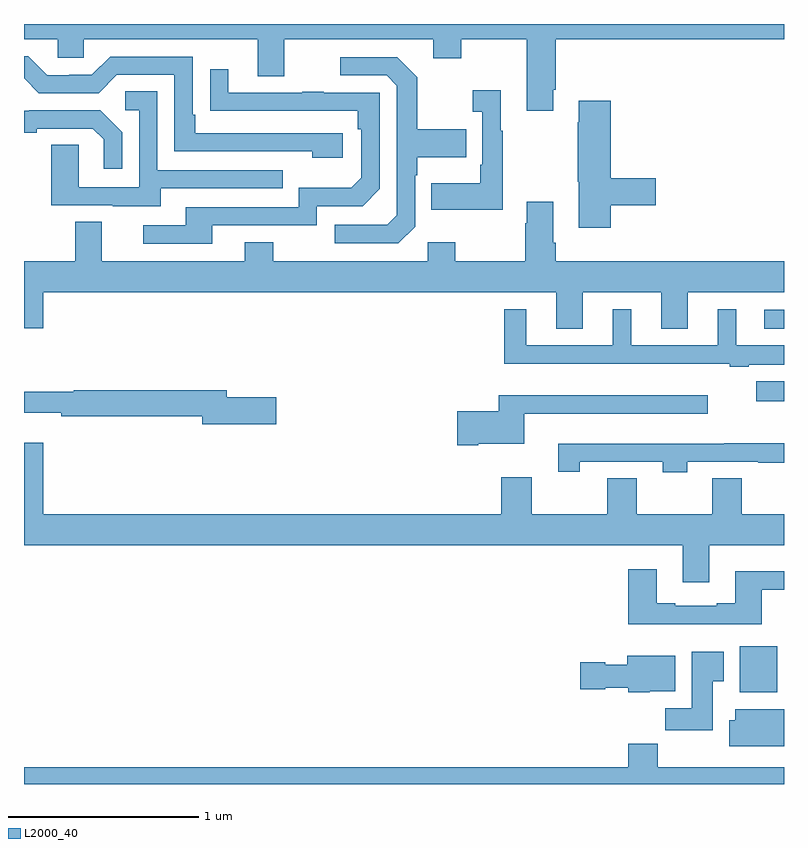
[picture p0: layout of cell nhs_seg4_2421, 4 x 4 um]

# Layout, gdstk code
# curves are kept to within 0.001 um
import gdstk
lib = gdstk.Library(unit=1e-6, precision=1e-09)
def R(c, l, rs):  # rectangles x0, y0, x1, y1
    for r in rs: c.add(gdstk.rectangle(r[:2], r[2:], *l))
def P(c, l, *ps):  # polygons
    for p in ps: c.add(gdstk.Polygon(p, *l))
L2000_40 = (2000, 40)

nhs_seg4_2421 = lib.new_cell('nhs_seg4_2421')
R(nhs_seg4_2421, L2000_40, [(240.767,793.382,240.964,793.624), (240.855,794.915,241,795.019), (240.897,795.296,241,795.397)])
P(nhs_seg4_2421, L2000_40, [(239.785,796.555),(239.798,796.555),(239.798,796.82),(241,796.82),(241,796.9),(237,796.9),(237,796.82),(237.177,796.82),(237.177,796.722),(237.315,796.722),(237.315,796.82),(238.229,796.82),(238.229,796.626),(238.369,796.626),(238.369,796.82),(239.153,796.82),(239.153,796.721),(239.301,796.721),(239.301,796.82),(239.645,796.82),(239.645,796.443),(239.785,796.443)],
  [(238.678,796.326),(237.901,796.326),(237.901,796.423),(237.888,796.423),(237.888,796.728),(237.453,796.728),(237.357,796.632),(237.239,796.632),(237.239,796.629),(237.123,796.629),(237.023,796.729),(237,796.729),(237,796.614),(237.078,796.536),(237.393,796.536),(237.489,796.632),(237.792,796.632),(237.792,796.23),(238.517,796.23),(238.517,796.196),(238.678,796.196)],
  [(239.058,795.834),(239.058,796.103),(239.071,796.103),(239.071,796.199),(239.327,796.199),(239.327,796.347),(239.071,796.347),(239.071,796.619),(238.965,796.725),(238.665,796.725),(238.665,796.629),(238.908,796.629),(238.962,796.575),(238.962,795.894),(238.911,795.843),(238.635,795.843),(238.635,795.747),(238.971,795.747)],
  [(237.991,795.84),(238.542,795.84),(238.542,795.942),(238.782,795.942),(238.872,796.032),(238.872,796.539),(238.577,796.539),(238.577,796.544),(238.465,796.544),(238.465,796.539),(238.075,796.539),(238.075,796.663),(237.979,796.663),(237.979,796.444),(238.756,796.443),(238.756,796.346),(238.776,796.346),(238.776,796.092),(238.723,796.039),(238.446,796.039),(238.446,795.936),(237.851,795.936),(237.851,795.84),(237.627,795.84),(237.627,795.744),(237.991,795.744)],
  [(239.521,796.339),(239.509,796.339),(239.509,796.552),(239.361,796.552),(239.361,796.439),(239.412,796.439),(239.412,796.159),(239.4,796.159),(239.4,796.063),(239.143,796.063),(239.143,795.923),(239.521,795.923)],
  [(237.721,796.035),(238.361,796.035),(238.361,796.131),(237.702,796.131),(237.702,796.547),(237.534,796.547),(237.534,796.446),(237.606,796.446),(237.606,796.041),(237.288,796.041),(237.288,796.265),(237.143,796.265),(237.143,795.945),(237.467,795.945),(237.467,795.941),(237.721,795.941)],
  [(240.089,795.946),(240.325,795.946),(240.325,796.088),(240.089,796.088),(240.089,796.495),(239.921,796.495),(239.921,796.382),(239.914,796.382),(239.914,796.071),(239.921,796.071),(239.921,795.828),(240.089,795.828)],
  [(237.516,796.33),(237.4,796.446),(237.028,796.446),(237.028,796.443),(237,796.443),(237,796.328),(237.067,796.328),(237.067,796.35),(237.362,796.35),(237.419,796.293),(237.419,796.137),(237.516,796.137)],
  [(239.941,795.488),(240.353,795.488),(240.353,795.295),(240.493,795.295),(240.493,795.488),(241,795.488),(241,795.652),(239.798,795.652),(239.798,795.748),(239.785,795.748),(239.785,795.964),(239.645,795.964),(239.645,795.851),(239.638,795.851),(239.638,795.652),(239.271,795.652),(239.271,795.751),(239.124,795.751),(239.124,795.652),(238.311,795.652),(238.311,795.751),(238.163,795.751),(238.163,795.652),(237.409,795.652),(237.409,795.86),(237.269,795.86),(237.269,795.652),(237,795.652),(237,795.3),(237.1,795.3),(237.1,795.488),(239.801,795.488),(239.801,795.295),(239.941,795.295)],
  [(240.814,795.107),(241,795.107),(241,795.208),(240.748,795.208),(240.748,795.4),(240.65,795.4),(240.65,795.21),(240.196,795.21),(240.196,795.4),(240.098,795.4),(240.098,795.21),(239.644,795.21),(239.644,795.4),(239.527,795.4),(239.527,795.113),(240.714,795.113),(240.714,795.095),(240.814,795.095)],
  [(238.327,794.936),(238.066,794.936),(238.066,794.972),(237.262,794.972),(237.262,794.965),(237,794.965),(237,794.855),(237.196,794.855),(237.196,794.836),(237.938,794.836),(237.938,794.794),(238.327,794.794)],
  [(239.392,794.69),(239.632,794.69),(239.632,794.849),(240.598,794.849),(240.598,794.947),(239.498,794.947),(239.498,794.861),(239.28,794.861),(239.28,794.683),(239.392,794.683)],
  [(240.607,794.156),(241,794.156),(241,794.32),(240.777,794.32),(240.777,794.51),(240.622,794.51),(240.622,794.32),(240.225,794.32),(240.225,794.51),(240.07,794.51),(240.07,794.32),(239.673,794.32),(239.673,794.515),(239.513,794.515),(239.513,794.32),(237.1,794.32),(237.1,794.695),(237,794.695),(237,794.156),(240.467,794.156),(240.467,793.962),(240.607,793.962)],
  [(240.491,794.595),(240.865,794.595),(240.865,794.59),(241,794.59),(241,794.694),(240.685,794.694),(240.685,794.692),(239.811,794.692),(239.811,794.544),(239.924,794.544),(239.924,794.595),(240.363,794.595),(240.363,794.54),(240.491,794.54)],
  [(240.883,793.923),(241,793.923),(241,794.02),(240.743,794.02),(240.743,793.852),(240.647,793.852),(240.647,793.839),(240.427,793.839),(240.427,793.852),(240.331,793.852),(240.331,794.029),(240.179,794.029),(240.179,793.742),(240.883,793.742)],
  [(240.625,793.441),(240.682,793.441),(240.682,793.597),(240.515,793.597),(240.515,793.3),(240.376,793.3),(240.376,793.182),(240.625,793.182)],
  [(240.294,793.388),(240.427,793.388),(240.427,793.576),(240.176,793.576),(240.176,793.528),(240.06,793.528),(240.06,793.541),(239.928,793.541),(239.928,793.399),(240.06,793.399),(240.06,793.406),(240.18,793.406),(240.18,793.382),(240.294,793.382)],
  [(241,793.294),(240.743,793.294),(240.743,793.235),(240.713,793.235),(240.713,793.1),(241,793.1)],
  [(241,792.988),(240.335,792.988),(240.335,793.112),(240.179,793.112),(240.179,792.988),(237,792.988),(237,792.9),(241,792.9)])

lib.write_gds('nhs_seg4_2421.gds')
